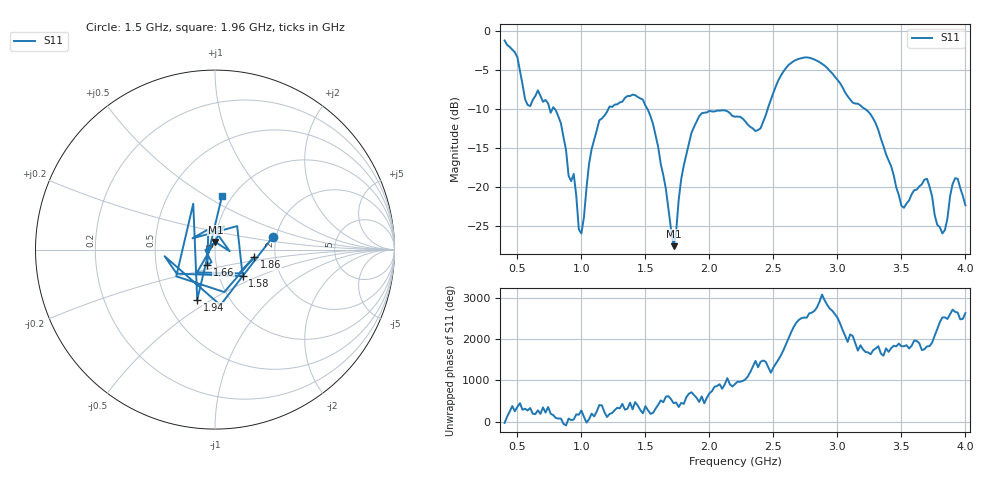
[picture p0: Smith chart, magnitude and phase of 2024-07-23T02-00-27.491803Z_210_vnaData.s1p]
!Created with skrf (http://scikit-rf.org).
# Hz S RI R 50.0
!freq ReS11 ImS11
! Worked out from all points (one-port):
!   181 points, 400 MHz to 4 GHz, reference 50 ohm
!   lowest |S11| = -27.6 dB at 1.72 GHz (marker M1), VSWR 1.09, Z = 50 + j4.19 ohm
!   |S11| at or under -10 dB: 790.4 MHz to 1.211 GHz (421.1 MHz wide, 42.1 % of centre); 1.515 GHz to 2.456 GHz (941.1 MHz wide, 47.4 % of centre); 3.213 GHz to end of sweep (the widest 3 of 4)
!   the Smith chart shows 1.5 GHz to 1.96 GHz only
!   S11 on the Smith chart (normalised r, x): 1.5 GHz: 1.92, +0.31; 1.58 GHz: 1.29, -0.40; 1.66 GHz: 0.91, -0.16; 1.86 GHz: 1.55, -0.14; 1.94 GHz: 0.71, -0.43; 1.96 GHz: 0.90, +0.59
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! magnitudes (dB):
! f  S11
! 400 MHz  -1.3
! 500 MHz  -3.4
! 580 MHz  -9.5
! 660 MHz  -7.6
! 860 MHz  -13.6
! 1 GHz  -25.9
! 1.06 GHz  -17.0
! 1.14 GHz  -11.5
! 1.3 GHz  -9.2
! 1.5 GHz  -9.6
! 1.58 GHz  -13.4
! 1.66 GHz  -20.3
! 1.72 GHz  -27.6
! 1.76 GHz  -21.7
! 1.86 GHz  -13.1
! 1.94 GHz  -10.6
! 1.96 GHz  -10.5
! 2.2 GHz  -11.0
! 2.4 GHz  -12.5
! 2.66 GHz  -3.9
! 3.1 GHz  -8.8
! 3.28 GHz  -11.3
! 3.5 GHz  -22.4
! 3.56 GHz  -21.7
! 3.7 GHz  -19.0
! 3.82 GHz  -25.9
! 3.92 GHz  -18.9
! 4 GHz  -22.3
